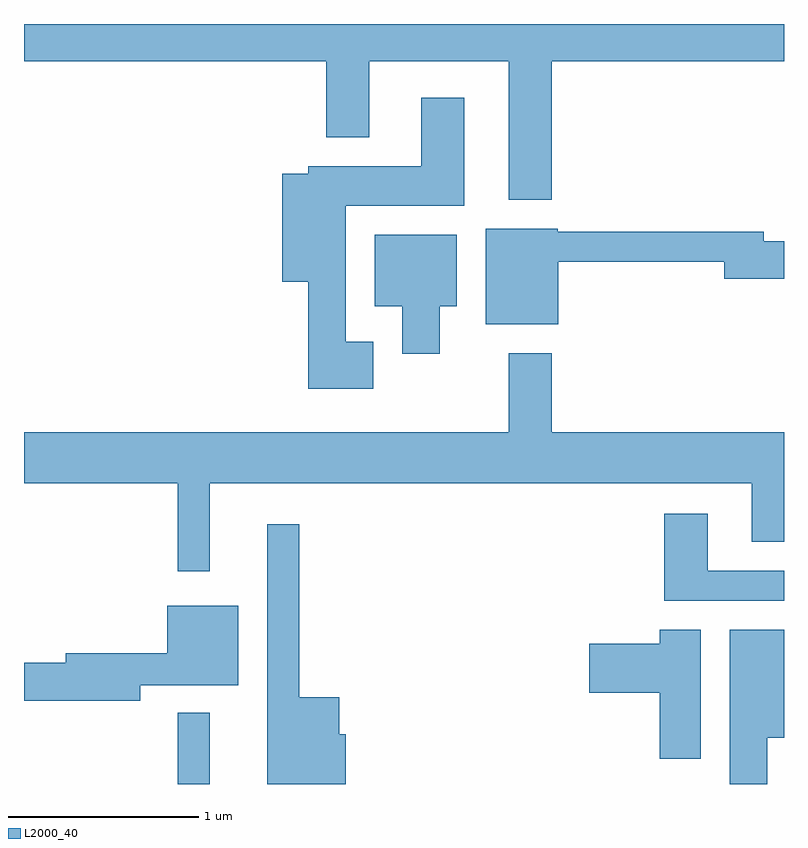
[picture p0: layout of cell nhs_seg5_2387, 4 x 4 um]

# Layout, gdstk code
import gdstk
lib = gdstk.Library(unit=1e-6, precision=1e-09)
def R(c, l, rs):  # rectangles x0, y0, x1, y1
    for r in rs: c.add(gdstk.rectangle(r[:2], r[2:], *l))
def P(c, l, *ps):  # polygons
    for p in ps: c.add(gdstk.Polygon(p, *l))
L2000_40 = (2000, 40)

nhs_seg5_2387 = lib.new_cell('nhs_seg5_2387')
R(nhs_seg5_2387, L2000_40, [(256.421,1484.072,256.589,1484.448)])
P(nhs_seg5_2387, L2000_40, [(258.389,1487.876),(259.611,1487.876),(259.611,1488.072),(255.611,1488.072),(255.611,1487.876),(257.201,1487.876),(257.201,1487.476),(257.429,1487.476),(257.429,1487.876),(258.161,1487.876),(258.161,1487.146),(258.389,1487.146)],
  [(257.449,1486.399),(257.304,1486.399),(257.304,1487.116),(257.929,1487.116),(257.929,1487.684),(257.701,1487.684),(257.701,1487.324),(257.106,1487.324),(257.106,1487.284),(256.971,1487.284),(256.971,1486.716),(257.106,1486.716),(257.106,1486.151),(257.449,1486.151)],
  [(258.424,1486.821),(259.296,1486.821),(259.296,1486.731),(259.611,1486.731),(259.611,1486.929),(259.504,1486.929),(259.504,1486.979),(258.42,1486.979),(258.42,1486.994),(258.041,1486.994),(258.041,1486.491),(258.424,1486.491)],
  [(257.799,1486.586),(257.889,1486.586),(257.889,1486.964),(257.456,1486.964),(257.456,1486.586),(257.601,1486.586),(257.601,1486.336),(257.799,1486.336)],
  [(256.589,1485.656),(259.441,1485.656),(259.441,1485.346),(259.611,1485.346),(259.611,1485.924),(258.389,1485.924),(258.389,1486.339),(258.161,1486.339),(258.161,1485.924),(255.611,1485.924),(255.611,1485.656),(256.421,1485.656),(256.421,1485.193),(256.589,1485.193)],
  [(259.611,1485.194),(259.209,1485.194),(259.209,1485.494),(258.981,1485.494),(258.981,1485.036),(259.611,1485.036)],
  [(257.304,1484.334),(257.269,1484.334),(257.269,1484.529),(257.059,1484.529),(257.059,1485.438),(256.891,1485.438),(256.891,1484.072),(257.304,1484.072)],
  [(256.224,1484.591),(256.739,1484.591),(256.739,1485.009),(256.366,1485.009),(256.366,1484.759),(255.831,1484.759),(255.831,1484.709),(255.611,1484.709),(255.611,1484.511),(256.224,1484.511)],
  [(259.174,1484.884),(258.956,1484.884),(258.956,1484.809),(258.586,1484.809),(258.586,1484.551),(258.956,1484.551),(258.956,1484.206),(259.174,1484.206)],
  [(259.524,1484.316),(259.611,1484.316),(259.611,1484.884),(259.326,1484.884),(259.326,1484.072),(259.524,1484.072)])

lib.write_gds('nhs_seg5_2387.gds')
